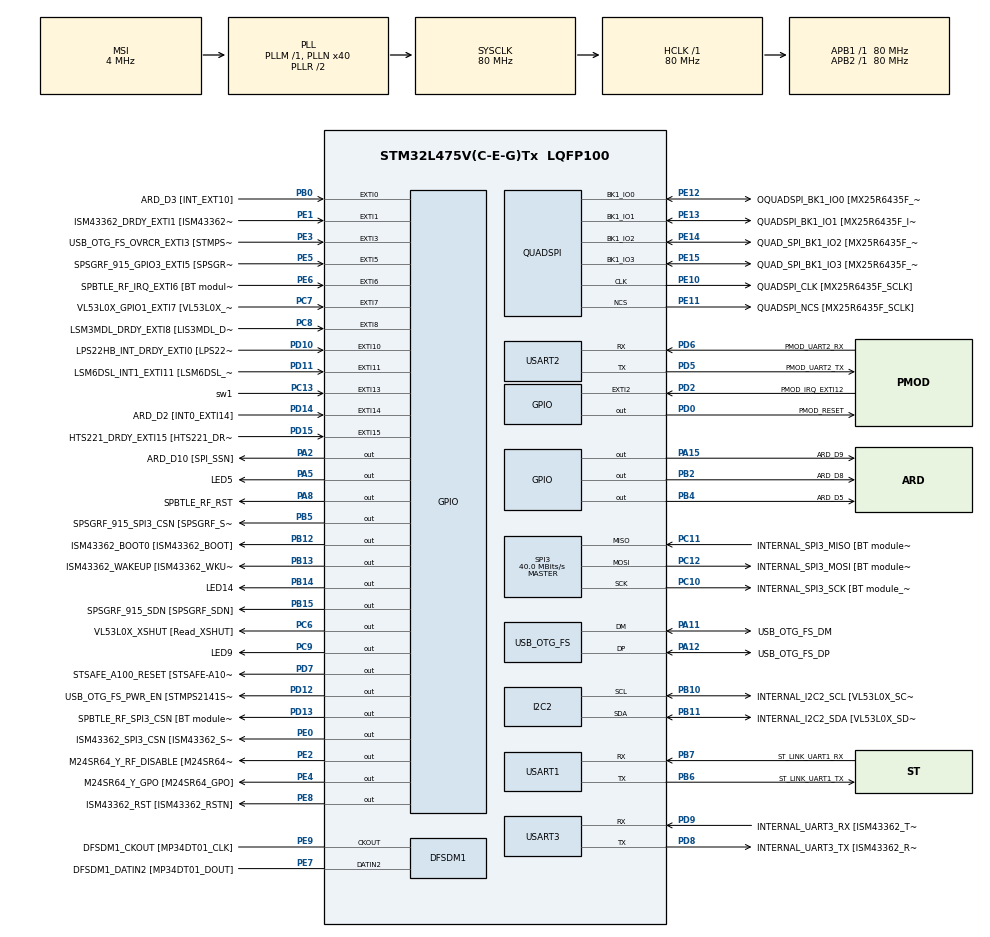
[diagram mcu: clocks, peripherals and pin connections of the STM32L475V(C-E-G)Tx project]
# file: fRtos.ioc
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FREERTOS.Tasks01=defaultTask,0,128,StartDefaultTask,Default,NULL,Dynamic,NULL,NULL;Task1,-3,128,Task1_App,Default,NULL,Dynamic,NULL,NULL;Task2,-3,200,Task2_App,Default,NULL,Dynamic,NULL,NULL;Task3,-3,128,Task3_App,Default,NULL,Dynamic,NULL,NULL
FREERTOS.configUSE_NEWLIB_REENTRANT=1
Mcu.Family=STM32L4
Mcu.Name=STM32L475V(C-E-G)Tx
Mcu.Package=LQFP100
NVIC.EXTI15_10_IRQn=true\:5\:0\:false\:false\:true\:true\:true\:true
NVIC.EXTI9_5_IRQn=true\:5\:0\:false\:false\:true\:true\:true\:true
NVIC.PriorityGroup=NVIC_PRIORITYGROUP_4
NVIC.TIM6_DAC_IRQn=true\:15\:0\:false\:false\:true\:false\:false\:true
NVIC.TimeBase=TIM6_DAC_IRQn
NVIC.TimeBaseIP=TIM6
PA0.GPIO_Label=ARD_D1 [UART4_TX]
PA0.Signal=UART4_TX
PA1.GPIO_Label=ARD_D0 [UART4_RX]
PA1.Signal=UART4_RX
PA10.GPIO_Label=USB_OTG_FS_ID
PA10.Signal=USB_OTG_FS_ID
PA11.GPIO_Label=USB_OTG_FS_DM
PA11.Mode=Device_Only
PA11.Signal=USB_OTG_FS_DM
PA12.GPIO_Label=USB_OTG_FS_DP
PA12.Mode=Device_Only
PA12.Signal=USB_OTG_FS_DP
PA13\ (JTMS-SWDIO).GPIO_Label=SYS_JTMS_SWDIO
PA13\ (JTMS-SWDIO).Mode=Serial_Wire
PA13\ (JTMS-SWDIO).Signal=SYS_JTMS-SWDIO
PA14\ (JTCK-SWCLK).GPIO_Label=SYS_JTCK_SWCLK
PA14\ (JTCK-SWCLK).Mode=Serial_Wire
PA14\ (JTCK-SWCLK).Signal=SYS_JTCK-SWCLK
PA15\ (JTDI).GPIO_Label=ARD_D9
PA15\ (JTDI).Signal=GPIO_Output
PA2.GPIO_Label=ARD_D10 [SPI_SSN]
PA2.Signal=GPIO_Output
PA3.GPIO_Label=ARD_D4
PA3.Signal=S_TIM2_CH4
PA4.GPIO_Label=ARD_D7
PA4.Signal=ADCx_IN9
PA5.GPIO_Label=LED5
PA5.Signal=GPIO_Output
PA6.GPIO_Label=ARD_D12 [SPI1_MISO]
PA6.Signal=SPI1_MISO
PA7.GPIO_Label=ARD_D11 [SPI1_MOSI]
PA7.Signal=SPI1_MOSI
PA8.GPIO_Label=SPBTLE_RF_RST
PA8.Signal=GPIO_Output
PA9.GPIO_Label=USB_OTG_FS_VBUS [STMPS2141STR_OUT]
PA9.Signal=USB_OTG_FS_VBUS
PB0.GPIO_Label=ARD_D3 [INT_EXT10]
PB0.Signal=GPXTI0
PB1.GPIO_Label=ARD_D6 [ADC1_IN6]
PB1.Signal=ADCx_IN16
PB10.GPIO_Label=INTERNAL_I2C2_SCL [VL53L0X_SCL]
PB10.GPIO_Pu=GPIO_PULLUP
PB10.Mode=I2C
PB10.Signal=I2C2_SCL
PB11.GPIO_Label=INTERNAL_I2C2_SDA [VL53L0X_SDA]
PB11.GPIO_Pu=GPIO_PULLUP
PB11.Mode=I2C
PB11.Signal=I2C2_SDA
PB12.GPIO_Label=ISM43362_BOOT0 [ISM43362_BOOT]
PB12.Signal=GPIO_Output
PB13.GPIO_Label=ISM43362_WAKEUP [ISM43362_WKUP]
PB13.Signal=GPIO_Output
PB14.GPIO_Label=LED14
PB14.Signal=GPIO_Output
PB15.GPIO_Label=SPSGRF_915_SDN [SPSGRF_SDN]
PB15.Signal=GPIO_Output
PB2.GPIO_Label=ARD_D8
PB2.Signal=GPIO_Output
PB3\ (JTDO-TRACESWO).GPIO_Label=SYS_JTD0_SWO
PB3\ (JTDO-TRACESWO).Signal=SYS_JTDO-SWO
PB4\ (NJTRST).GPIO_Label=ARD_D5
PB4\ (NJTRST).Signal=GPIO_Output
PB5.GPIO_Label=SPSGRF_915_SPI3_CSN [SPSGRF_SPI_CS]
PB5.PinState=GPIO_PIN_SET
PB5.Signal=GPIO_Output
PB6.GPIO_Label=ST_LINK_UART1_TX
PB6.Mode=Asynchronous
PB6.Signal=USART1_TX
PB7.GPIO_Label=ST_LINK_UART1_RX
PB7.Mode=Asynchronous
PB7.Signal=USART1_RX
PB8.GPIO_Label=ARD_D15 [I2C1_SCL]
PB8.Signal=I2C1_SCL
PB9.GPIO_Label=ARD_D14 [I2C1_SDA]
PB9.Signal=I2C1_SDA
PC0.GPIO_Label=ARD_A5 [ADC]
PC0.Signal=ADCx_IN1
PC1.GPIO_Label=ARD_A4 [ADC]
PC1.Signal=ADCx_IN2
PC10.GPIO_Label=INTERNAL_SPI3_SCK [BT module_SPI_SCLK] [ISM43362_SCK]
PC10.Mode=Full_Duplex_Master
PC10.Signal=SPI3_SCK
PC11.GPIO_Label=INTERNAL_SPI3_MISO [BT module_SPI_MISO] [ISM43362_MISO]
PC11.Mode=Full_Duplex_Master
PC11.Signal=SPI3_MISO
PC12.GPIO_Label=INTERNAL_SPI3_MOSI [BT module_SPI_MOSI] [ISM43362_MOSI]
PC12.Mode=Full_Duplex_Master
PC12.Signal=SPI3_MOSI
PC13.GPIO_Label=sw1
PC13.GPIO_ModeDefaultEXTI=GPIO_MODE_IT_FALLING
PC13.Signal=GPXTI13
PC14-OSC32_IN\ (PC14).Mode=LSE-External-Oscillator
PC14-OSC32_IN\ (PC14).Signal=RCC_OSC32_IN
PC15-OSC32_OUT\ (PC15).Mode=LSE-External-Oscillator
PC15-OSC32_OUT\ (PC15).Signal=RCC_OSC32_OUT
PC2.GPIO_Label=ARD_A3 [ADC]
PC2.Signal=ADCx_IN3
PC3.GPIO_Label=ARD_A2 [ADC]
PC3.Signal=ADCx_IN4
PC4.GPIO_Label=ARD_A1 [ADC]
PC4.Signal=ADCx_IN13
PC5.GPIO_Label=ARD_A0 [ADC]
PC5.Signal=ADCx_IN14
PC6.GPIO_Label=VL53L0X_XSHUT [Read_XSHUT]
PC6.Signal=GPIO_Output
PC7.GPIO_Label=VL53L0X_GPIO1_EXTI7 [VL53L0X_GPIO1]
PC7.Signal=GPXTI7
PC8.GPIO_Label=LSM3MDL_DRDY_EXTI8 [LIS3MDL_DRDY]
PC8.Signal=GPXTI8
PC9.GPIO_Label=LED9
PC9.Signal=GPIO_Output
PD0.GPIO_Label=PMOD_RESET
PD0.Signal=GPIO_Output
PD1.GPIO_Label=PMOD_SPI2_SCK
PD1.Signal=SPI2_SCK
PD10.GPIO_Label=LPS22HB_INT_DRDY_EXTI0 [LPS22HB_INT_DRDY] 
PD10.Signal=GPXTI10
PD11.GPIO_Label=LSM6DSL_INT1_EXTI11 [LSM6DSL_INT1]
PD11.Signal=GPXTI11
PD12.GPIO_Label=USB_OTG_FS_PWR_EN [STMPS2141STR_EN]
PD12.Signal=GPIO_Output
PD13.GPIO_Label=SPBTLE_RF_SPI3_CSN [BT module_SPI_CS]
PD13.PinState=GPIO_PIN_SET
PD13.Signal=GPIO_Output
PD14.GPIO_Label=ARD_D2 [INT0_EXTI14]
PD14.Signal=GPXTI14
PD15.GPIO_Label=HTS221_DRDY_EXTI15 [HTS221_DRDY]
PD15.Signal=GPXTI15
PD2.GPIO_Label=PMOD_IRQ_EXTI12
PD2.Signal=GPXTI2
PD3.GPIO_Label=PMOD_UART2_CTS
PD3.Signal=USART2_CTS
PD4.GPIO_Label=PMOD_UART2_RTS
PD4.Signal=USART2_RTS
PD5.GPIO_Label=PMOD_UART2_TX
PD5.Mode=Asynchronous
PD5.Signal=USART2_TX
PD6.GPIO_Label=PMOD_UART2_RX
PD6.Mode=Asynchronous
PD6.Signal=USART2_RX
PD7.GPIO_Label=STSAFE_A100_RESET [STSAFE-A100_RESET]
PD7.Signal=GPIO_Output
PD8.GPIO_Label=INTERNAL_UART3_TX [ISM43362_RX]
PD8.Mode=Asynchronous
PD8.Signal=USART3_TX
PD9.GPIO_Label=INTERNAL_UART3_RX [ISM43362_TX]
PD9.Mode=Asynchronous
PD9.Signal=USART3_RX
PE0.GPIO_Label=ISM43362_SPI3_CSN [ISM43362_SSN]
PE0.PinState=GPIO_PIN_SET
PE0.Signal=GPIO_Output
PE1.GPIO_Label=ISM43362_DRDY_EXTI1 [ISM43362_DATARDY]
PE1.Signal=GPXTI1
PE10.GPIO_Label=QUADSPI_CLK [MX25R6435F_SCLK]
PE10.Mode=Single Bank
PE10.Signal=QUADSPI_CLK
PE11.GPIO_Label=QUADSPI_NCS [MX25R6435F_SCLK]
PE11.Mode=Single Bank
PE11.Signal=QUADSPI_NCS
PE12.GPIO_Label=OQUADSPI_BK1_IO0 [MX25R6435F_IO0]
PE12.Mode=Single Bank
PE12.Signal=QUADSPI_BK1_IO0
PE13.GPIO_Label=QUADSPI_BK1_IO1 [MX25R6435F_IO1]
PE13.Mode=Single Bank
PE13.Signal=QUADSPI_BK1_IO1
PE14.GPIO_Label=QUAD_SPI_BK1_IO2 [MX25R6435F_IO2]
PE14.Mode=Single Bank
PE14.Signal=QUADSPI_BK1_IO2
PE15.GPIO_Label=QUAD_SPI_BK1_IO3 [MX25R6435F_IO3]
PE15.Mode=Single Bank
PE15.Signal=QUADSPI_BK1_IO3
PE2.GPIO_Label=M24SR64_Y_RF_DISABLE [M24SR64_RFDIS]
PE2.Signal=GPIO_Output
PE3.GPIO_Label=USB_OTG_FS_OVRCR_EXTI3 [STMPS2141STR_FAULT]
PE3.Signal=GPXTI3
PE4.GPIO_Label=M24SR64_Y_GPO [M24SR64_GPO]
PE4.Signal=GPIO_Output
PE5.GPIO_Label=SPSGRF_915_GPIO3_EXTI5 [SPSGRF_GPIO_3]
PE5.Signal=GPXTI5
PE6.GPIO_Label=SPBTLE_RF_IRQ_EXTI6 [BT module_SPI_IRQ]
PE6.Signal=GPXTI6
PE7.GPIO_Label=DFSDM1_DATIN2 [MP34DT01_DOUT]
PE7.Signal=S_DATAIN2DFSDM1
PE8.GPIO_Label=ISM43362_RST [ISM43362_RSTN]
PE8.Signal=GPIO_Output
PE9.GPIO_Label=DFSDM1_CKOUT [MP34DT01_CLK]
PE9.Signal=S_CKOUTDFSDM1
ProjectManager.HeapSize=0x200
ProjectManager.StackSize=0x400
ProjectManager.TargetToolchain=STM32CubeIDE
QUADSPI.ClockPrescaler=2
QUADSPI.FifoThreshold=4
QUADSPI.FlashSize=23
QUADSPI.SampleShifting=QSPI_SAMPLE_SHIFTING_HALFCYCLE
RCC.ADCFreq_Value=48000000
RCC.AHBFreq_Value=80000000
RCC.APB1Freq_Value=80000000
RCC.APB1TimFreq_Value=80000000
RCC.APB2Freq_Value=80000000
RCC.APB2TimFreq_Value=80000000
RCC.CortexFreq_Value=80000000
RCC.HCLKFreq_Value=80000000
RCC.HSE_VALUE=8000000
RCC.HSI_VALUE=16000000
RCC.MSI_VALUE=4000000
RCC.PLLN=40
RCC.PLLSAI1N=24
RCC.SYSCLKFreq_VALUE=80000000
RCC.SYSCLKSource=RCC_SYSCLKSOURCE_PLLCLK
RCC.USBFreq_Value=48000000
RCC.VCOOutputFreq_Value=160000000
SH.ADCx_IN1.0=ADC1_IN1
SH.ADCx_IN13.0=ADC1_IN13
SH.ADCx_IN14.0=ADC1_IN14
SH.ADCx_IN16.0=ADC1_IN16
SH.ADCx_IN2.0=ADC1_IN2
SH.ADCx_IN3.0=ADC1_IN3
SH.ADCx_IN4.0=ADC1_IN4
SH.ADCx_IN9.0=ADC1_IN9
SH.S_CKOUTDFSDM1.0=DFSDM1_CKOUT,CKOUT
SH.S_CKOUTDFSDM1.1=DFSDM1_CKOUT,PDM_SPI_Input_from_ch12_and_Internal_Clock
SH.S_DATAIN2DFSDM1.0=DFSDM1_DATIN2,PDM_SPI_Input_from_ch12_and_Internal_Clock
SH.S_TIM2_CH4.0=TIM2_CH4
SPI3.CalculateBaudRate=40.0 MBits/s
SPI3.Direction=SPI_DIRECTION_2LINES
SPI3.Mode=SPI_MODE_MASTER
SPI3.VirtualType=VM_MASTER
USART1.VirtualMode-Asynchronous=VM_ASYNC
USART2.VirtualMode-Asynchronous=VM_ASYNC
USART3.VirtualMode-Asynchronous=VM_ASYNC
USB_OTG_FS.VirtualMode=Device_Only
VP_FREERTOS_VS_CMSIS_V1.Mode=CMSIS_V1
VP_SYS_VS_tim6.Mode=TIM6
board=B-L475E-IOT01A1

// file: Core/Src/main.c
/* USER CODE BEGIN Header */
/**
  ******************************************************************************
  * @file           : main.c
  * @brief          : Main program body
  ******************************************************************************
  * @attention
  *
  * <h2><center>&copy; Copyright (c) 2022 STMicroelectronics.
  * All rights reserved.</center></h2>
  *
  * This software component is licensed by ST under BSD 3-Clause license,
  * the "License"; You may not use this file except in compliance with the
  * License. You may obtain a copy of the License at:
  *                        opensource.org/licenses/BSD-3-Clause
  *
  ******************************************************************************
  */
/* USER CODE END Header */
#include "main.h"
#include "cmsis_os.h"

/* USER CODE BEGIN Includes */
#include"stdio.h"

/* USER CODE END Includes */

DFSDM_Channel_HandleTypeDef hdfsdm1_channel1;

I2C_HandleTypeDef hi2c2;

QSPI_HandleTypeDef hqspi;

SPI_HandleTypeDef hspi3;

UART_HandleTypeDef huart1;
UART_HandleTypeDef huart2;
UART_HandleTypeDef huart3;

PCD_HandleTypeDef hpcd_USB_OTG_FS;

osThreadId defaultTaskHandle;
osThreadId Task1Handle;
osThreadId Task2Handle;
osThreadId Task3Handle;
/* USER CODE BEGIN PV */
uint8_t msg[] = "Hi, Welcome to UART demo!!\r\n";
uint8_t msg1[] = "LED9 ON\r\n";
uint8_t msg2[] = "LED9 OFF\r\n";
uint8_t msg3[] = "LED5 ON\r\n";
uint8_t msg4[] = "LED5 OFF\r\n";
uint8_t msg6[] = "LED14 ON\r\n";
/* USER CODE END PV */

void SystemClock_Config(void);
static void MX_GPIO_Init(void);
static void MX_DFSDM1_Init(void);
static void MX_I2C2_Init(void);
static void MX_QUADSPI_Init(void);
static void MX_SPI3_Init(void);
static void MX_USART1_UART_Init(void);
static void MX_USART3_UART_Init(void);
static void MX_USB_OTG_FS_PCD_Init(void);
static void MX_USART2_UART_Init(void);
void StartDefaultTask(void const * argument);
void Task1_App(void const * argument);
void Task2_App(void const * argument);
void Task3_App(void const * argument);

int main(void)
{

  /* MCU Configuration--------------------------------------------------------*/

  /* Reset of all peripherals, Initializes the Flash interface and the Systick. */
  HAL_Init();

  /* Configure the system clock */
  SystemClock_Config();

  /* Initialize all configured peripherals */
  MX_GPIO_Init();
  MX_DFSDM1_Init();
  MX_I2C2_Init();
  MX_QUADSPI_Init();
  MX_SPI3_Init();
  MX_USART1_UART_Init();
  MX_USART3_UART_Init();
  MX_USB_OTG_FS_PCD_Init();
  MX_USART2_UART_Init();
  /* USER CODE BEGIN 2 */
  HAL_UART_Transmit(&huart2, msg, sizeof(msg), 1000);
  /* USER CODE END 2 */

  /* Create the thread(s) */
  /* definition and creation of defaultTask */
  osThreadDef(defaultTask, StartDefaultTask, osPriorityNormal, 0, 128);
  defaultTaskHandle = osThreadCreate(osThread(defaultTask), NULL);

  /* definition and creation of Task1 */
  osThreadDef(Task1, Task1_App, osPriorityIdle, 0, 128);
  Task1Handle = osThreadCreate(osThread(Task1), NULL);

  /* definition and creation of Task2 */
  osThreadDef(Task2, Task2_App, osPriorityIdle, 0, 200);
  Task2Handle = osThreadCreate(osThread(Task2), NULL);

  /* definition and creation of Task3 */
  osThreadDef(Task3, Task3_App, osPriorityIdle, 0, 128);
  Task3Handle = osThreadCreate(osThread(Task3), NULL);

  /* Start scheduler */
  osKernelStart();

  /* We should never get here as control is now taken by the scheduler */
  /* Infinite loop */
  while (1)
  {

  }
}

void SystemClock_Config(void)
{
  RCC_OscInitTypeDef RCC_OscInitStruct = {0};
  RCC_ClkInitTypeDef RCC_ClkInitStruct = {0};

  /** Configure the main internal regulator output voltage
  */
  if (HAL_PWREx_ControlVoltageScaling(PWR_REGULATOR_VOLTAGE_SCALE1) != HAL_OK)
  {
    Error_Handler();
  }
  /** Configure LSE Drive Capability
  */
  HAL_PWR_EnableBkUpAccess();
  __HAL_RCC_LSEDRIVE_CONFIG(RCC_LSEDRIVE_LOW);
  /** Initializes the RCC Oscillators according to the specified parameters
  * in the RCC_OscInitTypeDef structure.
  */
  RCC_OscInitStruct.OscillatorType = RCC_OSCILLATORTYPE_LSE|RCC_OSCILLATORTYPE_MSI;
  RCC_OscInitStruct.LSEState = RCC_LSE_ON;
  RCC_OscInitStruct.MSIState = RCC_MSI_ON;
  RCC_OscInitStruct.MSICalibrationValue = 0;
  RCC_OscInitStruct.MSIClockRange = RCC_MSIRANGE_6;
  RCC_OscInitStruct.PLL.PLLState = RCC_PLL_ON;
  RCC_OscInitStruct.PLL.PLLSource = RCC_PLLSOURCE_MSI;
  RCC_OscInitStruct.PLL.PLLM = 1;
  RCC_OscInitStruct.PLL.PLLN = 40;
  RCC_OscInitStruct.PLL.PLLP = RCC_PLLP_DIV7;
  RCC_OscInitStruct.PLL.PLLQ = RCC_PLLQ_DIV2;
  RCC_OscInitStruct.PLL.PLLR = RCC_PLLR_DIV2;
  if (HAL_RCC_OscConfig(&RCC_OscInitStruct) != HAL_OK)
  {
    Error_Handler();
  }
  /** Initializes the CPU, AHB and APB buses clocks
  */
  RCC_ClkInitStruct.ClockType = RCC_CLOCKTYPE_HCLK|RCC_CLOCKTYPE_SYSCLK
                              |RCC_CLOCKTYPE_PCLK1|RCC_CLOCKTYPE_PCLK2;
  RCC_ClkInitStruct.SYSCLKSource = RCC_SYSCLKSOURCE_PLLCLK;
  RCC_ClkInitStruct.AHBCLKDivider = RCC_SYSCLK_DIV1;
  RCC_ClkInitStruct.APB1CLKDivider = RCC_HCLK_DIV1;
  RCC_ClkInitStruct.APB2CLKDivider = RCC_HCLK_DIV1;

  if (HAL_RCC_ClockConfig(&RCC_ClkInitStruct, FLASH_LATENCY_4) != HAL_OK)
  {
    Error_Handler();
  }
  /** Enable MSI Auto calibration
  */
  HAL_RCCEx_EnableMSIPLLMode();
}

static void MX_DFSDM1_Init(void)
{

  hdfsdm1_channel1.Instance = DFSDM1_Channel1;
  hdfsdm1_channel1.Init.OutputClock.Activation = ENABLE;
  hdfsdm1_channel1.Init.OutputClock.Selection = DFSDM_CHANNEL_OUTPUT_CLOCK_SYSTEM;
  hdfsdm1_channel1.Init.OutputClock.Divider = 2;
  hdfsdm1_channel1.Init.Input.Multiplexer = DFSDM_CHANNEL_EXTERNAL_INPUTS;
  hdfsdm1_channel1.Init.Input.DataPacking = DFSDM_CHANNEL_STANDARD_MODE;
  hdfsdm1_channel1.Init.Input.Pins = DFSDM_CHANNEL_FOLLOWING_CHANNEL_PINS;
  hdfsdm1_channel1.Init.SerialInterface.Type = DFSDM_CHANNEL_SPI_RISING;
  hdfsdm1_channel1.Init.SerialInterface.SpiClock = DFSDM_CHANNEL_SPI_CLOCK_INTERNAL;
  hdfsdm1_channel1.Init.Awd.FilterOrder = DFSDM_CHANNEL_FASTSINC_ORDER;
  hdfsdm1_channel1.Init.Awd.Oversampling = 1;
  hdfsdm1_channel1.Init.Offset = 0;
  hdfsdm1_channel1.Init.RightBitShift = 0x00;
  if (HAL_DFSDM_ChannelInit(&hdfsdm1_channel1) != HAL_OK)
  {
    Error_Handler();
  }

}

static void MX_I2C2_Init(void)
{

  hi2c2.Instance = I2C2;
  hi2c2.Init.Timing = 0x00000E14;
  hi2c2.Init.OwnAddress1 = 0;
  hi2c2.Init.AddressingMode = I2C_ADDRESSINGMODE_7BIT;
  hi2c2.Init.DualAddressMode = I2C_DUALADDRESS_DISABLE;
  hi2c2.Init.OwnAddress2 = 0;
  hi2c2.Init.OwnAddress2Masks = I2C_OA2_NOMASK;
  hi2c2.Init.GeneralCallMode = I2C_GENERALCALL_DISABLE;
  hi2c2.Init.NoStretchMode = I2C_NOSTRETCH_DISABLE;
  if (HAL_I2C_Init(&hi2c2) != HAL_OK)
  {
    Error_Handler();
  }
  /** Configure Analogue filter
  */
  if (HAL_I2CEx_ConfigAnalogFilter(&hi2c2, I2C_ANALOGFILTER_ENABLE) != HAL_OK)
  {
    Error_Handler();
  }
  /** Configure Digital filter
  */
  if (HAL_I2CEx_ConfigDigitalFilter(&hi2c2, 0) != HAL_OK)
  {
    Error_Handler();
  }

}

static void MX_QUADSPI_Init(void)
{

  /* QUADSPI parameter configuration*/
  hqspi.Instance = QUADSPI;
  hqspi.Init.ClockPrescaler = 2;
  hqspi.Init.FifoThreshold = 4;
  hqspi.Init.SampleShifting = QSPI_SAMPLE_SHIFTING_HALFCYCLE;
  hqspi.Init.FlashSize = 23;
  hqspi.Init.ChipSelectHighTime = QSPI_CS_HIGH_TIME_1_CYCLE;
  hqspi.Init.ClockMode = QSPI_CLOCK_MODE_0;
  if (HAL_QSPI_Init(&hqspi) != HAL_OK)
  {
    Error_Handler();
  }

}

static void MX_SPI3_Init(void)
{

  /* SPI3 parameter configuration*/
  hspi3.Instance = SPI3;
  hspi3.Init.Mode = SPI_MODE_MASTER;
  hspi3.Init.Direction = SPI_DIRECTION_2LINES;
  hspi3.Init.DataSize = SPI_DATASIZE_4BIT;
  hspi3.Init.CLKPolarity = SPI_POLARITY_LOW;
  hspi3.Init.CLKPhase = SPI_PHASE_1EDGE;
  hspi3.Init.NSS = SPI_NSS_SOFT;
  hspi3.Init.BaudRatePrescaler = SPI_BAUDRATEPRESCALER_2;
  hspi3.Init.FirstBit = SPI_FIRSTBIT_MSB;
  hspi3.Init.TIMode = SPI_TIMODE_DISABLE;
  hspi3.Init.CRCCalculation = SPI_CRCCALCULATION_DISABLE;
  hspi3.Init.CRCPolynomial = 7;
  hspi3.Init.CRCLength = SPI_CRC_LENGTH_DATASIZE;
  hspi3.Init.NSSPMode = SPI_NSS_PULSE_ENABLE;
  if (HAL_SPI_Init(&hspi3) != HAL_OK)
  {
    Error_Handler();
  }

}

static void MX_USART1_UART_Init(void)
{

  huart1.Instance = USART1;
  huart1.Init.BaudRate = 115200;
  huart1.Init.WordLength = UART_WORDLENGTH_8B;
  huart1.Init.StopBits = UART_STOPBITS_1;
  huart1.Init.Parity = UART_PARITY_NONE;
  huart1.Init.Mode = UART_MODE_TX_RX;
  huart1.Init.HwFlowCtl = UART_HWCONTROL_NONE;
  huart1.Init.OverSampling = UART_OVERSAMPLING_16;
  huart1.Init.OneBitSampling = UART_ONE_BIT_SAMPLE_DISABLE;
  huart1.AdvancedInit.AdvFeatureInit = UART_ADVFEATURE_NO_INIT;
  if (HAL_UART_Init(&huart1) != HAL_OK)
  {
    Error_Handler();
  }

}

static void MX_USART2_UART_Init(void)
{

  huart2.Instance = USART2;
  huart2.Init.BaudRate = 115200;
  huart2.Init.WordLength = UART_WORDLENGTH_8B;
  huart2.Init.StopBits = UART_STOPBITS_1;
  huart2.Init.Parity = UART_PARITY_NONE;
  huart2.Init.Mode = UART_MODE_TX_RX;
  huart2.Init.HwFlowCtl = UART_HWCONTROL_NONE;
  huart2.Init.OverSampling = UART_OVERSAMPLING_16;
  huart2.Init.OneBitSampling = UART_ONE_BIT_SAMPLE_DISABLE;
  huart2.AdvancedInit.AdvFeatureInit = UART_ADVFEATURE_NO_INIT;
  if (HAL_UART_Init(&huart2) != HAL_OK)
  {
    Error_Handler();
  }

}

static void MX_USART3_UART_Init(void)
{

  huart3.Instance = USART3;
  huart3.Init.BaudRate = 115200;
  huart3.Init.WordLength = UART_WORDLENGTH_8B;
  huart3.Init.StopBits = UART_STOPBITS_1;
  huart3.Init.Parity = UART_PARITY_NONE;
  huart3.Init.Mode = UART_MODE_TX_RX;
  huart3.Init.HwFlowCtl = UART_HWCONTROL_NONE;
  huart3.Init.OverSampling = UART_OVERSAMPLING_16;
  huart3.Init.OneBitSampling = UART_ONE_BIT_SAMPLE_DISABLE;
  huart3.AdvancedInit.AdvFeatureInit = UART_ADVFEATURE_NO_INIT;
  if (HAL_UART_Init(&huart3) != HAL_OK)
  {
    Error_Handler();
  }

}

static void MX_USB_OTG_FS_PCD_Init(void)
{

  hpcd_USB_OTG_FS.Instance = USB_OTG_FS;
  hpcd_USB_OTG_FS.Init.dev_endpoints = 6;
  hpcd_USB_OTG_FS.Init.speed = PCD_SPEED_FULL;
  hpcd_USB_OTG_FS.Init.phy_itface = PCD_PHY_EMBEDDED;
  hpcd_USB_OTG_FS.Init.Sof_enable = DISABLE;
  hpcd_USB_OTG_FS.Init.low_power_enable = DISABLE;
  hpcd_USB_OTG_FS.Init.lpm_enable = DISABLE;
  hpcd_USB_OTG_FS.Init.battery_charging_enable = DISABLE;
  hpcd_USB_OTG_FS.Init.use_dedicated_ep1 = DISABLE;
  hpcd_USB_OTG_FS.Init.vbus_sensing_enable = DISABLE;
  if (HAL_PCD_Init(&hpcd_USB_OTG_FS) != HAL_OK)
  {
    Error_Handler();
  }

}

static void MX_GPIO_Init(void)
{
  GPIO_InitTypeDef GPIO_InitStruct = {0};

  /* GPIO Ports Clock Enable */
  __HAL_RCC_GPIOE_CLK_ENABLE();
  __HAL_RCC_GPIOC_CLK_ENABLE();
  __HAL_RCC_GPIOA_CLK_ENABLE();
  __HAL_RCC_GPIOB_CLK_ENABLE();
  __HAL_RCC_GPIOD_CLK_ENABLE();

  /*Configure GPIO pin Output Level */
  HAL_GPIO_WritePin(GPIOE, M24SR64_Y_RF_DISABLE_Pin|M24SR64_Y_GPO_Pin|ISM43362_RST_Pin, GPIO_PIN_RESET);

  /*Configure GPIO pin Output Level */
  HAL_GPIO_WritePin(GPIOA, ARD_D10_Pin|LED5_Pin|SPBTLE_RF_RST_Pin|ARD_D9_Pin, GPIO_PIN_RESET);

  /*Configure GPIO pin Output Level */
  HAL_GPIO_WritePin(GPIOB, ARD_D8_Pin|ISM43362_BOOT0_Pin|ISM43362_WAKEUP_Pin|LED14_Pin
                          |SPSGRF_915_SDN_Pin|ARD_D5_Pin, GPIO_PIN_RESET);

  /*Configure GPIO pin Output Level */
  HAL_GPIO_WritePin(GPIOD, USB_OTG_FS_PWR_EN_Pin|PMOD_RESET_Pin|STSAFE_A100_RESET_Pin, GPIO_PIN_RESET);

  /*Configure GPIO pin Output Level */
  HAL_GPIO_WritePin(SPBTLE_RF_SPI3_CSN_GPIO_Port, SPBTLE_RF_SPI3_CSN_Pin, GPIO_PIN_SET);

  /*Configure GPIO pin Output Level */
  HAL_GPIO_WritePin(GPIOC, VL53L0X_XSHUT_Pin|LED9_Pin, GPIO_PIN_RESET);

  /*Configure GPIO pin Output Level */
  HAL_GPIO_WritePin(SPSGRF_915_SPI3_CSN_GPIO_Port, SPSGRF_915_SPI3_CSN_Pin, GPIO_PIN_SET);

  /*Configure GPIO pin Output Level */
  HAL_GPIO_WritePin(ISM43362_SPI3_CSN_GPIO_Port, ISM43362_SPI3_CSN_Pin, GPIO_PIN_SET);

  /*Configure GPIO pins : M24SR64_Y_RF_DISABLE_Pin M24SR64_Y_GPO_Pin ISM43362_RST_Pin ISM43362_SPI3_CSN_Pin */
  GPIO_InitStruct.Pin = M24SR64_Y_RF_DISABLE_Pin|M24SR64_Y_GPO_Pin|ISM43362_RST_Pin|ISM43362_SPI3_CSN_Pin;
  GPIO_InitStruct.Mode = GPIO_MODE_OUTPUT_PP;
  GPIO_InitStruct.Pull = GPIO_NOPULL;
  GPIO_InitStruct.Speed = GPIO_SPEED_FREQ_LOW;
  HAL_GPIO_Init(GPIOE, &GPIO_InitStruct);

  /*Configure GPIO pins : USB_OTG_FS_OVRCR_EXTI3_Pin SPSGRF_915_GPIO3_EXTI5_Pin SPBTLE_RF_IRQ_EXTI6_Pin ISM43362_DRDY_EXTI1_Pin */
  GPIO_InitStruct.Pin = USB_OTG_FS_OVRCR_EXTI3_Pin|SPSGRF_915_GPIO3_EXTI5_Pin|SPBTLE_RF_IRQ_EXTI6_Pin|ISM43362_DRDY_EXTI1_Pin;
  GPIO_InitStruct.Mode = GPIO_MODE_IT_RISING;
  GPIO_InitStruct.Pull = GPIO_NOPULL;
  HAL_GPIO_Init(GPIOE, &GPIO_InitStruct);

  /*Configure GPIO pin : sw1_Pin */
  GPIO_InitStruct.Pin = sw1_Pin;
  GPIO_InitStruct.Mode = GPIO_MODE_IT_FALLING;
  GPIO_InitStruct.Pull = GPIO_NOPULL;
  HAL_GPIO_Init(sw1_GPIO_Port, &GPIO_InitStruct);

  /*Configure GPIO pins : ARD_A5_Pin ARD_A4_Pin ARD_A3_Pin ARD_A2_Pin
                           ARD_A1_Pin ARD_A0_Pin */
  GPIO_InitStruct.Pin = ARD_A5_Pin|ARD_A4_Pin|ARD_A3_Pin|ARD_A2_Pin
                          |ARD_A1_Pin|ARD_A0_Pin;
  GPIO_InitStruct.Mode = GPIO_MODE_ANALOG_ADC_CONTROL;
  GPIO_InitStruct.Pull = GPIO_NOPULL;
  HAL_GPIO_Init(GPIOC, &GPIO_InitStruct);

  /*Configure GPIO pins : ARD_D1_Pin ARD_D0_Pin */
  GPIO_InitStruct.Pin = ARD_D1_Pin|ARD_D0_Pin;
  GPIO_InitStruct.Mode = GPIO_MODE_AF_PP;
  GPIO_InitStruct.Pull = GPIO_NOPULL;
  GPIO_InitStruct.Speed = GPIO_SPEED_FREQ_VERY_HIGH;
  GPIO_InitStruct.Alternate = GPIO_AF8_UART4;
  HAL_GPIO_Init(GPIOA, &GPIO_InitStruct);

  /*Configure GPIO pins : ARD_D10_Pin LED5_Pin SPBTLE_RF_RST_Pin ARD_D9_Pin */
  GPIO_InitStruct.Pin = ARD_D10_Pin|LED5_Pin|SPBTLE_RF_RST_Pin|ARD_D9_Pin;
  GPIO_InitStruct.Mode = GPIO_MODE_OUTPUT_PP;
  GPIO_InitStruct.Pull = GPIO_NOPULL;
  GPIO_InitStruct.Speed = GPIO_SPEED_FREQ_LOW;
  HAL_GPIO_Init(GPIOA, &GPIO_InitStruct);

  /*Configure GPIO pin : ARD_D4_Pin */
  GPIO_InitStruct.Pin = ARD_D4_Pin;
  GPIO_InitStruct.Mode = GPIO_MODE_AF_PP;
  GPIO_InitStruct.Pull = GPIO_NOPULL;
  GPIO_InitStruct.Speed = GPIO_SPEED_FREQ_LOW;
  GPIO_InitStruct.Alternate = GPIO_AF1_TIM2;
  HAL_GPIO_Init(ARD_D4_GPIO_Port, &GPIO_InitStruct);

  /*Configure GPIO pin : ARD_D7_Pin */
  GPIO_InitStruct.Pin = ARD_D7_Pin;
  GPIO_InitStruct.Mode = GPIO_MODE_ANALOG_ADC_CONTROL;
  GPIO_InitStruct.Pull = GPIO_NOPULL;
  HAL_GPIO_Init(ARD_D7_GPIO_Port, &GPIO_InitStruct);

  /*Configure GPIO pins : ARD_D12_Pin ARD_D11_Pin */
  GPIO_InitStruct.Pin = ARD_D12_Pin|ARD_D11_Pin;
  GPIO_InitStruct.Mode = GPIO_MODE_AF_PP;
  GPIO_InitStruct.Pull = GPIO_NOPULL;
  GPIO_InitStruct.Speed = GPIO_SPEED_FREQ_VERY_HIGH;
  GPIO_InitStruct.Alternate = GPIO_AF5_SPI1;
  HAL_GPIO_Init(GPIOA, &GPIO_InitStruct);

  /*Configure GPIO pin : ARD_D3_Pin */
  GPIO_InitStruct.Pin = ARD_D3_Pin;
  GPIO_InitStruct.Mode = GPIO_MODE_IT_RISING;
  GPIO_InitStruct.Pull = GPIO_NOPULL;
  HAL_GPIO_Init(ARD_D3_GPIO_Port, &GPIO_InitStruct);

  /*Configure GPIO pin : ARD_D6_Pin */
  GPIO_InitStruct.Pin = ARD_D6_Pin;
  GPIO_InitStruct.Mode = GPIO_MODE_ANALOG_ADC_CONTROL;
  GPIO_InitStruct.Pull = GPIO_NOPULL;
  HAL_GPIO_Init(ARD_D6_GPIO_Port, &GPIO_InitStruct);

  /*Configure GPIO pins : ARD_D8_Pin ISM43362_BOOT0_Pin ISM43362_WAKEUP_Pin LED14_Pin
                           SPSGRF_915_SDN_Pin ARD_D5_Pin SPSGRF_915_SPI3_CSN_Pin */
  GPIO_InitStruct.Pin = ARD_D8_Pin|ISM43362_BOOT0_Pin|ISM43362_WAKEUP_Pin|LED14_Pin
                          |SPSGRF_915_SDN_Pin|ARD_D5_Pin|SPSGRF_915_SPI3_CSN_Pin;
  GPIO_InitStruct.Mode = GPIO_MODE_OUTPUT_PP;
  GPIO_InitStruct.Pull = GPIO_NOPULL;
  GPIO_InitStruct.Speed = GPIO_SPEED_FREQ_LOW;
  HAL_GPIO_Init(GPIOB, &GPIO_InitStruct);

  /*Configure GPIO pins : LPS22HB_INT_DRDY_EXTI0_Pin LSM6DSL_INT1_EXTI11_Pin ARD_D2_Pin HTS221_DRDY_EXTI15_Pin
                           PMOD_IRQ_EXTI12_Pin */
  GPIO_InitStruct.Pin = LPS22HB_INT_DRDY_EXTI0_Pin|LSM6DSL_INT1_EXTI11_Pin|ARD_D2_Pin|HTS221_DRDY_EXTI15_Pin
                          |PMOD_IRQ_EXTI12_Pin;
  GPIO_InitStruct.Mode = GPIO_MODE_IT_RISING;
  GPIO_InitStruct.Pull = GPIO_NOPULL;
  HAL_GPIO_Init(GPIOD, &GPIO_InitStruct);

  /*Configure GPIO pins : USB_OTG_FS_PWR_EN_Pin SPBTLE_RF_SPI3_CSN_Pin PMOD_RESET_Pin STSAFE_A100_RESET_Pin */
  GPIO_InitStruct.Pin = USB_OTG_FS_PWR_EN_Pin|SPBTLE_RF_SPI3_CSN_Pin|PMOD_RESET_Pin|STSAFE_A100_RESET_Pin;
  GPIO_InitStruct.Mode = GPIO_MODE_OUTPUT_PP;
  GPIO_InitStruct.Pull = GPIO_NOPULL;
  GPIO_InitStruct.Speed = GPIO_SPEED_FREQ_LOW;
  HAL_GPIO_Init(GPIOD, &GPIO_InitStruct);

  /*Configure GPIO pins : VL53L0X_XSHUT_Pin LED9_Pin */
  GPIO_InitStruct.Pin = VL53L0X_XSHUT_Pin|LED9_Pin;
  GPIO_InitStruct.Mode = GPIO_MODE_OUTPUT_PP;
  GPIO_InitStruct.Pull = GPIO_NOPULL;
  GPIO_InitStruct.Speed = GPIO_SPEED_FREQ_LOW;
  HAL_GPIO_Init(GPIOC, &GPIO_InitStruct);

  /*Configure GPIO pins : VL53L0X_GPIO1_EXTI7_Pin LSM3MDL_DRDY_EXTI8_Pin */
  GPIO_InitStruct.Pin = VL53L0X_GPIO1_EXTI7_Pin|LSM3MDL_DRDY_EXTI8_Pin;
  GPIO_InitStruct.Mode = GPIO_MODE_IT_RISING;
  GPIO_InitStruct.Pull = GPIO_NOPULL;
  HAL_GPIO_Init(GPIOC, &GPIO_InitStruct);

  /*Configure GPIO pin : PMOD_SPI2_SCK_Pin */
  GPIO_InitStruct.Pin = PMOD_SPI2_SCK_Pin;
  GPIO_InitStruct.Mode = GPIO_MODE_AF_PP;
  GPIO_InitStruct.Pull = GPIO_NOPULL;
  GPIO_InitStruct.Speed = GPIO_SPEED_FREQ_VERY_HIGH;
  GPIO_InitStruct.Alternate = GPIO_AF5_SPI2;
  HAL_GPIO_Init(PMOD_SPI2_SCK_GPIO_Port, &GPIO_InitStruct);

  /*Configure GPIO pins : ARD_D15_Pin ARD_D14_Pin */
  GPIO_InitStruct.Pin = ARD_D15_Pin|ARD_D14_Pin;
  GPIO_InitStruct.Mode = GPIO_MODE_AF_OD;
  GPIO_InitStruct.Pull = GPIO_NOPULL;
  GPIO_InitStruct.Speed = GPIO_SPEED_FREQ_VERY_HIGH;
  GPIO_InitStruct.Alternate = GPIO_AF4_I2C1;
  HAL_GPIO_Init(GPIOB, &GPIO_InitStruct);

  /* EXTI interrupt init*/
  HAL_NVIC_SetPriority(EXTI9_5_IRQn, 5, 0);
  HAL_NVIC_EnableIRQ(EXTI9_5_IRQn);

  HAL_NVIC_SetPriority(EXTI15_10_IRQn, 5, 0);
  HAL_NVIC_EnableIRQ(EXTI15_10_IRQn);

}

void StartDefaultTask(void const * argument)
{
  for(;;)
  {
    osDelay(1);
  }
}

void Task1_App(void const * argument)
{
  /* USER CODE BEGIN Task1_App */
  /* Infinite loop */
  for(;;)
  {
	  printf("Task1\n");
	  HAL_GPIO_WritePin(LED14_GPIO_Port, GPIO_PIN_14, 1);
	  printf("LED 14 ON\n");
	  HAL_UART_Transmit(&huart2, msg1, sizeof(msg1), 1000);
	  HAL_Delay(500);
	  HAL_GPIO_WritePin(LED14_GPIO_Port, GPIO_PIN_14, 0);
	  printf("LED 14 OFF\n");
	  HAL_UART_Transmit(&huart2, msg2, sizeof(msg1), 1000);
	  HAL_Delay(500);
	  taskYIELD();
	  osDelay(1);
  }
  /* USER CODE END Task1_App */
}

void Task2_App(void const * argument)
{
  /* USER CODE BEGIN Task2_App */
  /* Infinite loop */
  for(;;)
  {
	  	  printf("Task2\n");
	  	  HAL_GPIO_WritePin(LED5_GPIO_Port, GPIO_PIN_5, 1);
	  	  printf("LED 5 ON\n");
	  	  HAL_UART_Transmit(&huart2, msg3, sizeof(msg1), 1000);
	  	  HAL_Delay(500);

	  	  HAL_GPIO_WritePin(LED5_GPIO_Port, GPIO_PIN_5, 0);
	  	  printf("LED 5 OFF\n");
	  	  HAL_UART_Transmit(&huart2, msg4, sizeof(msg1), 1000);
	  	  HAL_Delay(500);
	  	  taskYIELD();
	  	  osDelay(1);
  }
  /* USER CODE END Task2_App */
}

void Task3_App(void const * argument)
{
  /* USER CODE BEGIN Task3_App */
  /* Infinite loop */
  for(;;)
  {
	  printf("Task3\n");
	  HAL_GPIO_WritePin(LED9_GPIO_Port, GPIO_PIN_9,1);
	  printf("LED 9 ON\n");
	  HAL_UART_Transmit(&huart2, msg5, sizeof(msg1), 1000);
	  HAL_Delay(500);
	  HAL_GPIO_WritePin(LED9_GPIO_Port, GPIO_PIN_9,0);
	  printf("LED 9 OFF\n");
	  HAL_UART_Transmit(&huart2, msg6, sizeof(msg1), 1000);
	  HAL_Delay(500);
	  taskYIELD();
	  osDelay(1);
  }
  /* USER CODE END Task3_App */
}

void HAL_TIM_PeriodElapsedCallback(TIM_HandleTypeDef *htim)
{
  if (htim->Instance == TIM6) {
    HAL_IncTick();
  }
}

void Error_Handler(void)
{
  __disable_irq();
  while (1)
  {
  }
}

/************************ (C) COPYRIGHT STMicroelectronics *****END OF FILE****/
